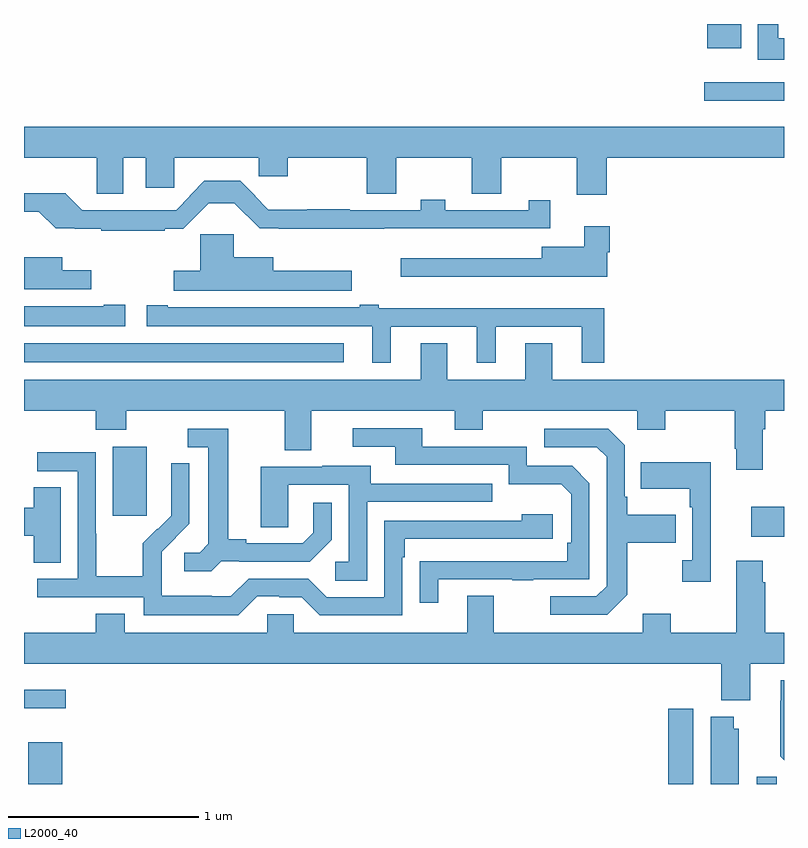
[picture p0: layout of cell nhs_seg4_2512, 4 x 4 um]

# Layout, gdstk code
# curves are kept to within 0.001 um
import gdstk
lib = gdstk.Library(unit=1e-6, precision=1e-09)
def R(c, l, rs):  # rectangles x0, y0, x1, y1
    for r in rs: c.add(gdstk.rectangle(r[:2], r[2:], *l))
def P(c, l, *ps):  # polygons
    for p in ps: c.add(gdstk.Polygon(p, *l))
L2000_40 = (2000, 40)

nhs_seg4_2512 = lib.new_cell('nhs_seg4_2512')
R(nhs_seg4_2512, L2000_40, [(243.023,750.9,243.202,751.12), (246.392,750.9,246.523,751.297), (246.857,750.9,246.961,750.937), (243,751.299,243.22,751.396), (246.828,752.201,247,752.359), (243.467,752.313,243.646,752.674), (243,753.119,244.684,753.22), (246.579,754.496,247,754.593), (246.596,754.772,246.775,754.9)])
P(nhs_seg4_2512, L2000_40, [(247,754.826),(246.97,754.826),(246.97,754.9),(246.863,754.9),(246.863,754.713),(247,754.713)],
  [(246.068,754.196),(247,754.196),(247,754.36),(243,754.36),(243,754.196),(243.383,754.196),(243.383,754.006),(243.523,754.006),(243.523,754.196),(243.641,754.196),(243.641,754.038),(243.792,754.038),(243.792,754.196),(244.235,754.196),(244.235,754.098),(244.389,754.098),(244.389,754.196),(244.804,754.196),(244.804,754.006),(244.959,754.006),(244.959,754.196),(245.356,754.196),(245.356,754.006),(245.511,754.006),(245.511,754.196),(245.908,754.196),(245.908,754.002),(246.068,754.002)],
  [(243.74,753.823),(243.838,753.823),(243.972,753.957),(244.107,753.957),(244.24,753.824),(245.77,753.824),(245.77,753.973),(245.657,753.973),(245.657,753.921),(245.218,753.921),(245.218,753.976),(245.089,753.976),(245.089,753.921),(244.715,753.921),(244.715,753.926),(244.49,753.926),(244.49,753.922),(244.286,753.922),(244.214,753.995),(244.216,753.997),(244.209,754.005),(244.139,754.075),(243.949,754.075),(243.879,754.005),(243.872,753.997),(243.875,753.995),(243.801,753.921),(243.307,753.921),(243.219,754.01),(243.119,754.01),(243.119,754.008),(243,754.008),(243,753.912),(243.078,753.912),(243.166,753.824),(243.406,753.823),(243.406,753.813),(243.74,753.813)],
  [(246.07,753.698),(246.083,753.698),(246.083,753.835),(245.948,753.835),(245.948,753.727),(245.726,753.727),(245.726,753.667),(244.983,753.667),(244.983,753.569),(246.07,753.569)],
  [(244.726,753.601),(244.312,753.601),(244.312,753.673),(244.103,753.673),(244.103,753.793),(243.928,753.793),(243.928,753.601),(243.789,753.601),(243.789,753.497),(244.726,753.497)],
  [(243.355,753.603),(243.202,753.603),(243.202,753.673),(243,753.673),(243,753.504),(243.355,753.504)],
  [(243.532,753.423),(243.419,753.423),(243.419,753.415),(243,753.415),(243,753.308),(243.532,753.308)],
  [(244.93,753.306),(245.384,753.306),(245.384,753.117),(245.482,753.117),(245.482,753.306),(245.936,753.306),(245.936,753.117),(246.053,753.117),(246.053,753.403),(244.866,753.403),(244.866,753.422),(244.766,753.422),(244.766,753.409),(243.757,753.409),(243.757,753.419),(243.645,753.419),(243.645,753.308),(244.832,753.308),(244.832,753.117),(244.93,753.117)],
  [(246.889,752.768),(246.902,752.768),(246.902,752.864),(247,752.864),(247,753.028),(245.779,753.028),(245.779,753.221),(245.639,753.221),(245.639,753.028),(245.227,753.028),(245.227,753.221),(245.087,753.221),(245.087,753.028),(243,753.028),(243,752.864),(243.377,752.864),(243.377,752.765),(243.537,752.765),(243.537,752.864),(244.373,752.864),(244.373,752.656),(244.513,752.656),(244.513,752.864),(245.267,752.864),(245.267,752.765),(245.415,752.765),(245.415,752.864),(246.228,752.864),(246.228,752.765),(246.375,752.765),(246.375,752.864),(246.742,752.864),(246.742,752.665),(246.749,752.665),(246.749,752.553),(246.889,752.553)],
  [(245.179,751.977),(245.569,751.977),(245.569,751.972),(245.681,751.972),(245.681,751.977),(245.976,751.977),(245.976,752.484),(245.886,752.574),(245.646,752.574),(245.646,752.676),(245.095,752.676),(245.095,752.772),(244.731,752.772),(244.731,752.676),(244.955,752.676),(244.955,752.58),(245.55,752.58),(245.55,752.477),(245.827,752.477),(245.88,752.424),(245.88,752.17),(245.86,752.17),(245.86,752.073),(245.083,752.072),(245.083,751.854),(245.179,751.854)],
  [(246.175,751.897),(246.175,752.17),(246.431,752.17),(246.431,752.317),(246.175,752.317),(246.175,752.413),(246.162,752.413),(246.162,752.682),(246.075,752.769),(245.739,752.769),(245.739,752.673),(246.015,752.673),(246.066,752.622),(246.066,751.941),(246.012,751.887),(245.769,751.887),(245.769,751.791),(246.069,751.791)],
  [(244.038,752.073),(244.132,752.073),(244.132,752.07),(244.504,752.07),(244.62,752.186),(244.62,752.38),(244.523,752.38),(244.523,752.223),(244.466,752.166),(244.171,752.166),(244.171,752.189),(244.075,752.189),(244.075,752.769),(243.861,752.769),(243.861,752.673),(243.971,752.673),(243.971,752.165),(243.924,752.118),(243.843,752.118),(243.843,752.021),(243.986,752.021)],
  [(244.227,751.887),(244.343,751.887),(244.343,751.884),(244.461,751.884),(244.557,751.788),(244.992,751.788),(244.992,752.093),(245.005,752.093),(245.005,752.19),(245.782,752.19),(245.782,752.32),(245.621,752.32),(245.621,752.286),(244.896,752.286),(244.896,751.884),(244.593,751.884),(244.497,751.98),(244.182,751.98),(244.089,751.887),(243.989,751.887),(243.989,751.891),(243.726,751.891),(243.726,752.025),(243.724,752.025),(243.724,752.122),(243.87,752.27),(243.87,752.588),(243.774,752.588),(243.774,752.434),(243.776,752.434),(243.776,752.312),(243.705,752.241),(243.702,752.244),(243.625,752.167),(243.625,751.993),(243.381,751.993),(243.381,752.216),(243.378,752.216),(243.378,752.646),(243.069,752.646),(243.069,752.547),(243.282,752.547),(243.282,751.98),(243.069,751.98),(243.069,751.884),(243.63,751.884),(243.63,751.787),(244.127,751.787)],
  [(246.614,752.593),(246.247,752.593),(246.247,752.453),(246.504,752.453),(246.504,752.357),(246.516,752.357),(246.516,752.078),(246.465,752.078),(246.465,751.965),(246.614,751.965)],
  [(244.806,752.385),(245.465,752.385),(245.465,752.481),(244.825,752.481),(244.825,752.575),(244.571,752.575),(244.571,752.571),(244.247,752.571),(244.247,752.251),(244.392,752.251),(244.392,752.475),(244.71,752.475),(244.71,752.07),(244.638,752.07),(244.638,751.969),(244.806,751.969)],
  [(243.193,752.462),(243.05,752.462),(243.05,752.354),(243,752.354),(243,752.207),(243.05,752.207),(243.05,752.065),(243.193,752.065)],
  [(246.823,751.532),(247,751.532),(247,751.696),(246.902,751.696),(246.902,751.961),(246.889,751.961),(246.889,752.074),(246.749,752.074),(246.749,751.696),(246.405,751.696),(246.405,751.795),(246.257,751.795),(246.257,751.696),(245.473,751.696),(245.473,751.891),(245.333,751.891),(245.333,751.696),(244.419,751.696),(244.419,751.794),(244.281,751.794),(244.281,751.696),(243.529,751.696),(243.529,751.795),(243.377,751.795),(243.377,751.696),(243,751.696),(243,751.532),(246.671,751.532),(246.671,751.34),(246.823,751.34)],
  [(247,751.447),(246.983,751.447),(246.983,751.337),(246.979,751.337),(246.979,751.046),(247,751.025)],
  [(246.763,751.191),(246.736,751.191),(246.736,751.255),(246.614,751.255),(246.614,750.9),(246.763,750.9)])

lib.write_gds('nhs_seg4_2512.gds')
